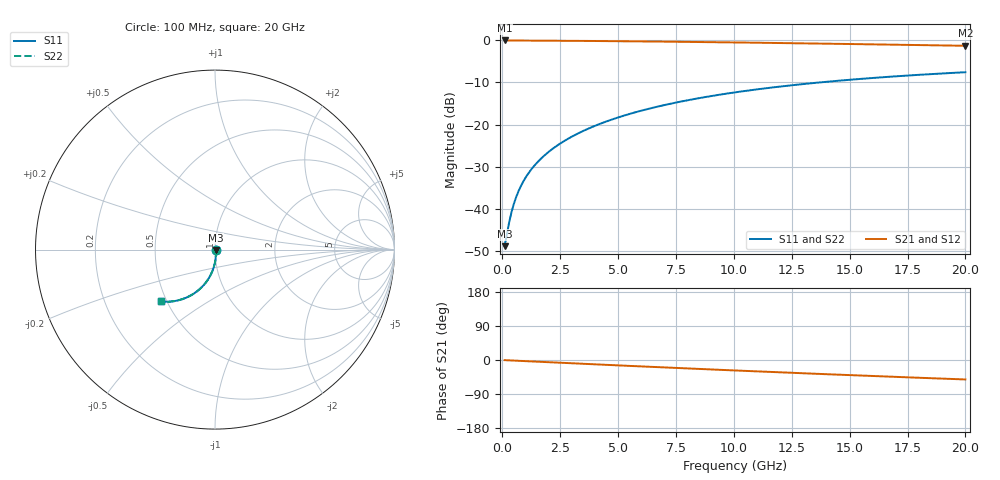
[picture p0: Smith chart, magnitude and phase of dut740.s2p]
! Touchstone file exported from HFSS 2026.1.0
!  File:  C:/ffzhzh/LocalFiles/Ansys_Project_Files/temp_train_TMRDL_740_1783155094_18472.aedt
!  Generated:  04:53:05 PM Jul  4, 2026
!  Design:  TMRDL
!  Project:  temp_train_TMRDL_740_1783155094_18472
! Variables:
!  h_bsmrdl = 2um
!  h_ox = 20um
!  h_rdl = 5um
!  h_sub = 80um
!  h_tmrdl = 5.5um
!  h_tsv = 80um
!  h_via = 3um
!  l_bsmrdl = 300um
!  l_sub = 1191.17um
!  l_tmrdl = 791.17um
!  m_sub = 200um
!  pitch = 18.31um
!  r_tsv = 6um
!  s_tmrdl = 10um
!  w_bsmrdl = 18um
!  w_sub = 500um
!  w_tmrdl = 17um
!  x_tsv_center1 = 799.67um
!  x_tsv_center2 = 1117.67um
!  x_tsv_center3 = 1925.84um
!  x_tsv_center4 = 2243.84um
!  x_tsv_center5 = 3052.01um
!  x_tsv_center6 = 3370.01um
# GHz S MA R 50.000000
! Terminal data exported
! Port[1] = TM_RDL1_1_T1
! Port[2] = TM_RDL1_1_T2
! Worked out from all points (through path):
!   200 points, 100 MHz to 20 GHz, reference 50 ohm
!   highest |S21| = -0.03 dB at 100 MHz (marker M1); lowest = -1.3 dB at 20 GHz (marker M2)
!   group delay of S21, straight-line fit = 7.12 ps
!   lowest |S11| = -48.9 dB at 100 MHz (marker M3), VSWR 1.01, Z = 50.3 - j0.145 ohm
!   |S11| at or under -10 dB: start of sweep to 13.69 GHz
!   |S22| runs from -48.9 to -7.6 dB; largest |S21 - S12| = 3.1e-15
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0.1  0.003609 -23.5  0.9967 -0.3  0.9967 -0.3  0.003609 -23.5
! Gamma 0 0 0 0
! Port Impedance 50 0 50 0
0.3  0.006999 -50.1  0.9954 -1.0  0.9954 -1.0  0.006999 -50.1
0.4  0.009186 -57.4  0.9949 -1.3  0.9949 -1.3  0.009187 -57.4
0.5  0.01148 -62.7  0.9944 -1.6  0.9944 -1.6  0.01148 -62.7
0.6  0.01383 -66.7  0.9941 -1.8  0.9941 -1.8  0.01383 -66.7
0.8  0.01858 -72.4  0.9935 -2.4  0.9935 -2.4  0.01858 -72.4
1.1  0.02574 -77.7  0.9928 -3.3  0.9928 -3.3  0.02574 -77.7
1.3  0.03054 -80.1  0.9923 -3.8  0.9923 -3.8  0.03054 -80.1
1.5  0.03534 -82.0  0.9918 -4.4  0.9918 -4.4  0.03534 -82.0
1.8  0.04258 -84.2  0.991 -5.3  0.991 -5.3  0.04258 -84.2
2.1  0.04985 -86.0  0.99 -6.1  0.99 -6.1  0.04985 -86.0
2.7  0.06451 -88.9  0.9879 -7.8  0.9879 -7.8  0.06451 -88.9
3.5  0.08426 -92.0  0.9845 -10.1  0.9845 -10.1  0.08426 -92.0
4.2  0.1016 -94.4  0.9812 -12.0  0.9812 -12.0  0.1017 -94.4
5  0.1215 -97.0  0.977 -14.2  0.977 -14.2  0.1215 -97.0
5.9  0.1438 -99.8  0.972 -16.7  0.972 -16.7  0.1438 -99.8
6.8  0.1658 -102.5  0.9666 -19.1  0.9666 -19.1  0.1658 -102.5
8.3  0.2015 -106.9  0.9569 -23.1  0.9569 -23.1  0.2015 -106.9
10.1  0.2424 -112.0  0.944 -27.7  0.944 -27.7  0.2424 -112.0
13.4  0.3107 -120.7  0.9179 -36.0  0.9179 -36.0  0.3107 -120.7
16.7  0.3694 -128.8  0.8899 -43.9  0.8899 -43.9  0.3694 -128.8
20  0.4183 -136.3  0.8618 -51.4  0.8618 -51.4  0.4182 -136.3
